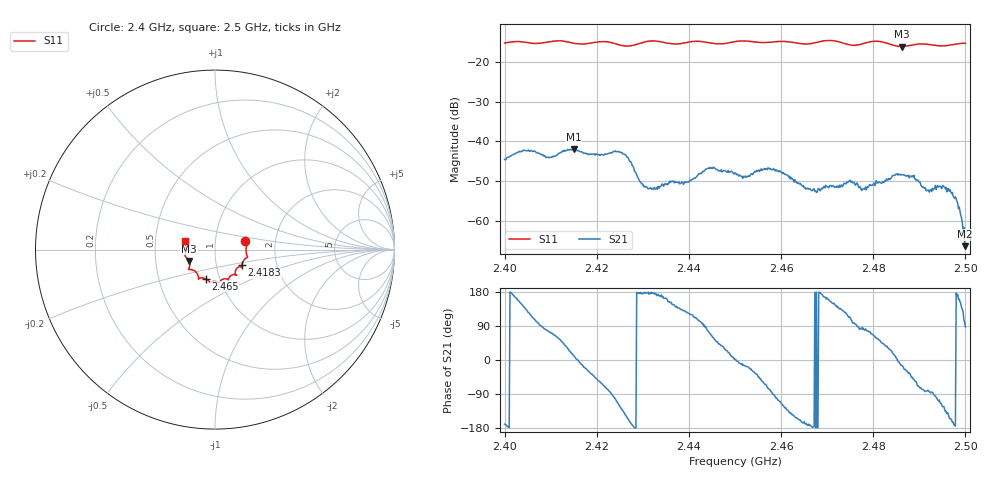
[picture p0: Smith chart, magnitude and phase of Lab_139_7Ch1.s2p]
# Hz S RI R 50
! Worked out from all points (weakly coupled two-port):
!   601 points, 2.4 GHz to 2.5 GHz, reference 50 ohm
!   highest |S21| = -42.00 dB at 2.415 GHz (marker M1); lowest = -66.4 dB at 2.4998 GHz (marker M2)
!   lowest |S11| = -16.0 dB at 2.4862 GHz (marker M3), VSWR 1.38, Z = 37.1 - j4.83 ohm
!   |S11| at or under -10 dB: start of sweep to end of sweep
!   S12 and S22 are empty: the file has one direction only
!   S11 on the Smith chart (normalised r, x): 2.4 GHz: 1.40, +0.13; 2.4183 GHz: 1.33, -0.24; 2.465 GHz: 0.86, -0.29; 2.5 GHz: 0.71, +0.07
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2.4e9  0.1689 0.0459  -0.00583 -0.00109  0 0  0 0
2.404167e9  0.1784 0.0257  -0.00594 0.00499  0 0  0 0
2.415e9  0.1656 -0.0526  0.00777 0.00165  0 0  0 0
2.416667e9  0.1552 -0.0685  0.00729 -0.00148  0 0  0 0
2.418333e9  0.1499 -0.0871  0.00588 -0.00351  0 0  0 0
2.4255e9  0.1297 -0.098  -0.00474 -0.0055  0 0  0 0
2.43e9  0.1141 -0.1369  -0.00289 0.00026  0 0  0 0
2.433333e9  0.1168 -0.1414  -0.0027 0.000317  0 0  0 0
2.444167e9  0.0673 -0.1638  0.00107 0.00447  0 0  0 0
2.45e9  0.0253 -0.1807  0.00403 0.000168  0 0  0 0
2.458167e9  -0.019 -0.1791  5.49e-05 -0.00443  0 0  0 0
2.465e9  -0.0527 -0.1621  -0.0025 -0.000766  0 0  0 0
2.466667e9  -0.0713 -0.1576  -0.00238 -0.000138  0 0  0 0
2.474833e9  -0.1005 -0.1326  -0.00128 0.00285  0 0  0 0
2.478e9  -0.1328 -0.1115  0.000388 0.0025  0 0  0 0
2.483333e9  -0.1422 -0.0959  0.00294 0.00173  0 0  0 0
2.486167e9  -0.1447 -0.0635  0.00366 -0.000947  0 0  0 0
2.491667e9  -0.1667 -0.0297  0.000348 -0.00237  0 0  0 0
2.496667e9  -0.1631 0.0237  -0.00225 -0.00103  0 0  0 0
2.498333e9  -0.1673 0.038  -0.00163 0.0002  0 0  0 0
2.499833e9  -0.1673 0.0463  -8.08e-05 0.00047  0 0  0 0
2.5e9  -0.1668 0.047  2.35e-05 0.000523  0 0  0 0
